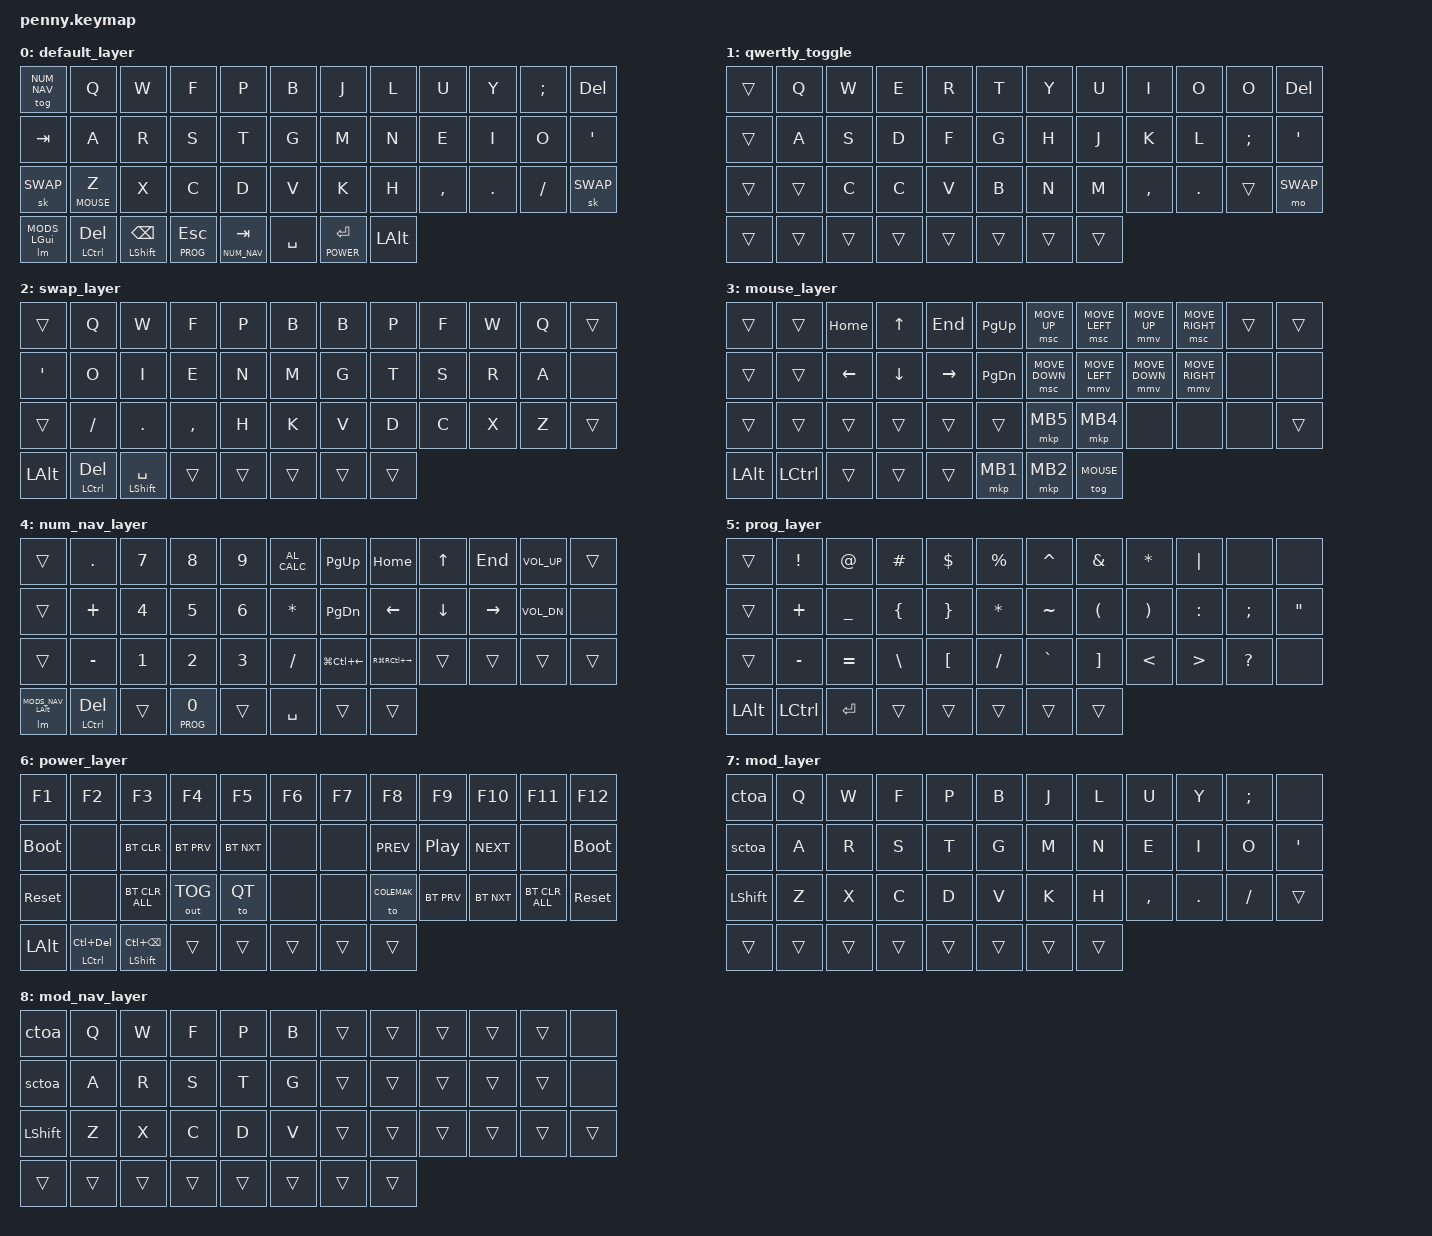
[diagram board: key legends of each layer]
#include <behaviors.dtsi>
#include <behaviors/mouse_keys.dtsi>
#include <dt-bindings/zmk/keys.h>
#include <dt-bindings/zmk/bt.h>
#include <dt-bindings/zmk/ext_power.h>
#include <dt-bindings/zmk/mouse.h>
#include <dt-bindings/zmk/outputs.h>
#include <dt-bindings/zmk/pointing.h>

#define COLEMAK  0
#define QT       1
#define SWAP     2
#define MOUSE    3
#define NUM_NAV  4
#define PROG     5
#define POWER    6
#define MODS     7
#define MODS_NAV 8

#define WIN_L LG(LC(LEFT))
#define WIN_R RG(RC(RIGHT))

&mmv {
        acceleration-exponent = <2>;  // 1
        time-to-max-speed-ms = <64>; // 300
        delay-ms = <0>;
        trigger-period-ms = <16>;      // 16
};

&msc {
        acceleration-exponent = <1>;  // 0
        time-to-max-speed-ms = <300>;  // 300
        delay-ms = <0>;
        trigger-period-ms = <16>;      // 16
};

/ {
        macros {
                ctoa: ctrl_to_alt {
                        compatible = "zmk,behavior-macro";
                        wait-ms = <0>;
                        tap-ms = <0>;
                        #binding-cells = <0>;
                        bindings
                                = <&macro_release &kp LCTRL>
                                , <&macro_press &atab>     
                                , <&macro_release &atab>
                                ;
                };

                sctoa: shift_ctrl_to_alt {      
                        compatible = "zmk,behavior-macro";
                        wait-ms = <0>;
                        tap-ms = <0>;
                        #binding-cells = <0>;
                        bindings
                                = <&macro_release &kp LCTRL>
                                , <&macro_press &astab>     
                                , <&macro_release &astab>
                                ;
                };

                // atoc: alt_to_ctrl {
                //         compatible = "zmk,behavior-macro";
                //         wait-ms = <0>;
                //         tap-ms = <0>;
                //         #binding-cells = <0>;
                //         bindings
                //                 = <&macro_release &kp LALT>
                //                 , <&macro_press &ctab>     
                //                 , <&macro_release &ctab>
                //                 ;       
                // };
                
                // satoc: shift_alt_to_ctrl {
                //         compatible = "zmk,behavior-macro";
                //         wait-ms = <0>;
                //         tap-ms = <0>;
                //         #binding-cells = <0>;
                //         bindings
                //                 = <&macro_release &kp LALT>
                //                 , <&macro_press &cstab>     
                //                 , <&macro_release &cstab>
                //                 ;
                // };
                lm: lm {
                        compatible = "zmk,behavior-macro-two-param";
                        wait-ms = <0>;
                        tap-ms = <0>;
                        #binding-cells = <2>;
                        bindings
                                = <&macro_param_1to1>
                                , <&macro_press &mo MACRO_PLACEHOLDER>
                                , <&macro_param_2to1>
                                , <&macro_press &kp MACRO_PLACEHOLDER>
                                , <&macro_pause_for_release>
                                , <&macro_param_2to1>
                                , <&macro_release &kp MACRO_PLACEHOLDER>
                                , <&macro_param_1to1>
                                , <&macro_release &mo MACRO_PLACEHOLDER>
                                ;
                };

                lmm: lmm {
                        compatible = "zmk,behavior-macro-one-param";
                        wait-ms = <0>;
                        tap-ms = <0>;
                        #binding-cells = <1>;
                        bindings
                                = <&macro_press &mo MODS>
                                , <&macro_param_1to1>
                                , <&macro_press &kp MACRO_PLACEHOLDER>
                                , <&macro_pause_for_release>
                                , <&macro_param_1to1>
                                , <&macro_release &kp MACRO_PLACEHOLDER>
                                , <&macro_release &mo MODS>
                                ;
                };

                lmmn: lmmn {
                        compatible = "zmk,behavior-macro-one-param";
                        wait-ms = <0>;
                        tap-ms = <0>;
                        #binding-cells = <1>;
                        bindings
                                = <&macro_press &mo MODS_NAV>
                                , <&macro_param_1to1>
                                , <&macro_press &kp MACRO_PLACEHOLDER>
                                , <&macro_pause_for_release>
                                , <&macro_param_1to1>
                                , <&macro_release &kp MACRO_PLACEHOLDER>
                                , <&macro_release &mo MODS_NAV>
                                ;
                };

                // shift_tab: shift_tab {
                //         compatible = "zmk,behavior-macro";
                //         wait-ms = <0>;
                //         tap-ms = <0>;
                //         #binding-cells = <0>;
                //         bindings
                //                 = <&macro_press &kp LSHIFT>
                //                 , <&macro_press &kp TAB>
                //                 , <&macro_pause_for_release>
                //                 , <&macro_release &kp TAB>
                //                 , <&macro_release &kp LSHIFT>
                //                 ;
                // };

        };
        
        behaviors {
                kt_on: key_toggle_on_only {
                        compatible = "zmk,behavior-key-toggle";
                        #binding-cells = <1>;
                        display-name = "Key Toggle On";
                        toggle-mode = "on";
                }; 
                kt_off: key_toggle_off_only {
                        compatible = "zmk,behavior-key-toggle";
                        #binding-cells = <1>;
                        display-name = "Key Toggle Off";
                        toggle-mode = "off";
                };
                // td_mt: tap_dance_mod_tap {
                //         compatible = "zmk,behavior-tap-dance";
                //         #binding-cells = <0>;
                //         tapping-term-ms = <200>;
                //         bindings = <&mmv MOVE_LEFT>, <&mmvf MOVE_LEFT>;
                // };
                // mmvf: mouse_movement_fast {
                //         compatible = "zmk,behavior-input-two-axis";
                //         acceleration-exponent = <1>;  // 1
                //         time-to-max-speed-ms = <64>; // 300
                //         delay-ms = <0>;
                //         trigger-period-ms = <8>;      // 16
                // };
                // stab: super_tab {
                //         compatible = "zmk,behavior-mod-morph";
                //         #binding-cells = <0>;
                //         bindings = <&ctoa>, <&atab>;
                //         mods = <(MOD_LCTRL)>;
                // };

                // shft_stab: shift_super_tab {
                //         compatible = "zmk,behavior-mod-morph";
                //         #binding-cells = <0>;
                //         bindings = <&sctoa>, <&astab>;
                //         mods = <(MOD_LCTRL)>;
                // };

                atab: alt_tab {
                        compatible = "zmk,behavior-tri-state";
                        #binding-cells = <0>;
                        bindings = <&kt_on LALT>, <&kp TAB>, <&kt_off LALT>;
                        ignored-key-positions = <12>;
                };
                
                // ctab: ctrl_tab {
                //         compatible = "zmk,behavior-tri-state";
                //         #binding-cells = <0>;
                //         bindings = <&kt LCTRL>, <&kp TAB>, <&kt LCTRL>;
                // };

                astab: alt_shift_tab {
                        compatible = "zmk,behavior-tri-state";
                        #binding-cells = <0>;
                        bindings = <&kt_on LALT>, <&kp LS(TAB)>, <&kt_off LALT>;
                        ignored-key-positions = <0>;

                };
                
                // cstab: ctrl_shift_tab {
                //         compatible = "zmk,behavior-tri-state";
                //         #binding-cells = <0>;
                //         bindings = <&kt LCTRL>, <&kp LS(TAB)>, <&kt LCTRL>;
                // };

                ltt: layer_tap_tap_custom {
                        compatible = "zmk,behavior-hold-tap";
                        #binding-cells = <2>;
                        tapping-term-ms = <200>;    // <---[[moderate duration]]
                        quick-tap-ms = <175>;
                        require-prior-idle-ms = <150>;
                        flavor = "tap-preferred";
                        bindings = <&mo>, <&kp>;
                };
        
                ltc: layer_tap_custom {
                        compatible = "zmk,behavior-hold-tap";
                        #binding-cells = <2>;
                        tapping-term-ms = <200>;    // <---[[moderate duration]]
                        quick-tap-ms = <200>;
                        flavor = "hold-preferred";
                        bindings = <&mo>, <&kp>;
                };

                lmt: layer_mod_tap {
                        compatible = "zmk,behavior-hold-tap";
                        #binding-cells = <2>;
                        tapping-term-ms = <200>;    // <---[[moderate duration]]
                        quick-tap-ms = <200>;
                        flavor = "hold-preferred";
                        bindings = <&lmm>, <&kp>;
                };

                lmnt: layer_mod_nav_tap {
                        compatible = "zmk,behavior-hold-tap";
                        #binding-cells = <2>;
                        tapping-term-ms = <200>;    // <---[[moderate duration]]
                        quick-tap-ms = <200>;
                        flavor = "hold-preferred";
                        bindings = <&lmmn>, <&kp>;
                };

                mtc: mod_tap_custom {
                        compatible = "zmk,behavior-hold-tap";
                        #binding-cells = <2>;
                        tapping-term-ms = <200>;    // <---[[moderate duration]]
                        quick-tap-ms = <200>;
                        flavor = "hold-preferred";
                        bindings = <&kp>, <&kp>;
                };
        };

        keymap {
                compatible = "zmk,keymap";

//                 default_old_layer {
// // -----------------------------------------------------------------------------------------
// // |  TAB |  Q  |  W  |  E  |  R  |  T  |   |  Y  |  U   |  I  |  O  |  P  | BSPC |
// // | CTRL |  A  |  S  |  D  |  F  |  G  |   |  H  |  J   |  K  |  L  |  ;  |  '   |
// // | SHFT |  Z  |  X  |  C  |  V  |  B  |   |  N  |  M   |  ,  |  .  |  /  | ESC  |
// //                    | GUI | LWR | SPC |   | ENT | RSE  | ALT |
//                         bindings = <
//    &tog NUM_NAV &kp Q        &kp W &kp F    &kp P               &kp B                                            &kp J     &kp L          &kp U     &kp Y   &kp SEMI &kp DEL
//    &kp TAB      &kp A        &kp R &kp S    &kp T               &kp G                                            &kp M     &kp N          &kp E     &kp I   &kp O    &kp SQT
//    &sk SWAP     &ltt MOUSE Z &kp X &kp C    &kp D               &kp V                                            &kp K     &kp H          &kp COMMA &kp DOT &kp FSLH &sk SWAP
//                                    &lm MODS LALT &lmt LCTRL ESC &mtc LSHFT BSPC &ltc PROG DEL   &ltc NUM_NAV TAB &kp SPACE &ltc POWER RET &kp LGUI 
//                         >;
//                 };

                default_layer {
// -----------------------------------------------------------------------------------------
// |NUMNAV|  Q  |  W  |  E  |  R  |  T  |   |  Y  |  U   |  I  |  O  |  P  | BSPC |
// | TAB  |  A  |  S  |  D  |  F  |  G  |   |  H  |  J   |  K  |  L  |  ;  |  '   |
// | SWAP |  Zm |  X  |  C  |  V  |  B  |   |  N  |  M   |  ,  |  .  |  /  | ESC  |
// | LGUI | DEL/LCTRL | BSPC/LSHFT | ESC/MOD1 | | TAB/MOD2 | SPACE  | RET/POWER | LALT |
                        bindings = <
   &tog NUM_NAV &kp Q        &kp W &kp F    &kp P               &kp B                                            &kp J     &kp L          &kp U     &kp Y   &kp SEMI &kp DEL
   &kp TAB      &kp A        &kp R &kp S    &kp T               &kp G                                            &kp M     &kp N          &kp E     &kp I   &kp O    &kp SQT
   &sk SWAP     &ltt MOUSE Z &kp X &kp C    &kp D               &kp V                                            &kp K     &kp H          &kp COMMA &kp DOT &kp FSLH &sk SWAP
                                   &lm MODS LGUI &lmt LCTRL DEL &mtc LSHFT BSPC &ltc PROG ESC   &ltc NUM_NAV TAB &kp SPACE &ltc POWER RET &kp LALT 
                        >;
                };
        
                qwertly_toggle {
// -----------------------------------------------------------------------------------------
// |  TAB |  Q  |  W  |  E  |  R  |  T  |   |  Y  |  U   |  I  |  O  |  P  | BSPC |
// | CTRL |  A  |  S  |  D  |  F  |  G  |   |  H  |  J   |  K  |  L  |  ;  |  '   |
// | SHFT |  Z  |  X  |  C  |  V  |  B  |   |  N  |  M   |  ,  |  .  |  /  | ESC  |
//                    | GUI | LWR | SPC |   | ENT | RSE  | ALT |
                        bindings = <
   &trans &kp Q  &kp W &kp E  &kp R  &kp T           &kp Y  &kp U  &kp I     &kp O   &kp O    &kp DEL
   &trans &kp A  &kp S &kp D  &kp F  &kp G           &kp H  &kp J  &kp K     &kp L   &kp SEMI &kp SQT
   &trans &trans &kp C &kp C  &kp V  &kp B           &kp N  &kp M  &kp COMMA &kp DOT &trans   &mo SWAP
                       &trans &trans &trans &trans   &trans &trans &trans    &trans
                        >;
                };

                swap_layer {
// -----------------------------------------------------------------------------------------
// |  TAB |  Q  |  W  |  E  |  R  |  T  |   |  Y  |  U   |  I  |  O  |  P  | BSPC |
// | CTRL |  A  |  S  |  D  |  F  |  G  |   |  H  |  J   |  K  |  L  |  ;  |  '   |
// | SHFT |  Z  |  X  |  C  |  V  |  B  |   |  N  |  M   |  ,  |  .  |  /  | ESC  |
//                    | GUI | LWR | SPC |   | ENT | RSE  | ALT |
                        bindings = <
   &trans  &kp Q    &kp W   &kp F     &kp P           &kp B                            &kp B  &kp P  &kp F &kp W &kp Q &trans
   &kp SQT &kp O    &kp I   &kp E     &kp N           &kp M                            &kp G  &kp T  &kp S &kp R &kp A &none
   &trans  &kp FSLH &kp DOT &kp COMMA &kp H           &kp K                            &kp V  &kp D  &kp C &kp X &kp Z &trans
                            &kp LALT  &mtc LCTRL DEL  &mtc LSHFT SPACE &trans   &trans &trans &trans &trans 
                        >;
                };

                mouse_layer {
                        bindings = <
   &trans &trans &kp HOME &kp UP   &kp END   &kp PG_UP                 &msc MOVE_UP   &msc MOVE_LEFT &mmv MOVE_UP   &msc MOVE_RIGHT &trans &trans
   &trans &trans &kp LEFT &kp DOWN &kp RIGHT &kp PG_DN                 &msc MOVE_DOWN &mmv MOVE_LEFT &mmv MOVE_DOWN &mmv MOVE_RIGHT &none  &none
   &trans &trans &trans   &trans   &trans    &trans                    &mkp MB5 &mkp MB4       &none          &none           &none  &trans
                          &kp LALT &kp LCTRL &trans    &trans   &trans &mkp MB1 &mkp MB2 &tog MOUSE    
                        >;
                };

                num_nav_layer {
                        bindings = <
   &trans &kp DOT   &kp N7 &kp N8            &kp N9          &kp C_AL_CALC                       &kp PG_UP &kp HOME  &kp UP   &kp END   &kp C_VOL_UP &trans
   &trans &kp PLUS  &kp N4 &kp N5            &kp N6          &kp STAR                            &kp PG_DN &kp LEFT  &kp DOWN &kp RIGHT &kp C_VOL_DN &none
   &trans &kp MINUS &kp N1 &kp N2            &kp N3          &kp SLASH                           &kp WIN_L &kp WIN_R &trans   &trans    &trans       &trans
                           &lm MODS_NAV LALT &lmnt LCTRL DEL &trans        &ltc PROG N0   &trans &kp SPACE &trans    &trans
                        >;
                };

                prog_layer {
                        bindings = <
   &trans &kp EXCL  &kp AT    &kp HASH &kp DLLR  &kp PRCNT          &kp CARET &kp AMPS &kp STAR &kp PIPE  &none     &none
   &trans &kp PLUS  &kp UNDER &kp LBRC &kp RBRC  &kp STAR           &kp TILDE &kp LPAR &kp RPAR &kp COLON &kp SEMI  &kp DQT
   &trans &kp MINUS &kp EQUAL &kp BSLH &kp LBKT  &kp SLASH          &kp GRAVE &kp RBKT &kp LT   &kp GT    &kp QMARK &none
                              &kp LALT &kp LCTRL &kp ENTER &trans   &trans    &trans   &trans   &trans
                        >;
                };

                power_layer {
                        bindings = <
   &kp F1      &kp F2 &kp F3         &kp F4        &kp F5             &kp F6                       &kp F7 &kp F8      &kp F9     &kp F10    &kp F11        &kp F12             
   &bootloader &none  &bt BT_CLR     &bt BT_PRV    &bt BT_NXT         &none                        &none  &kp C_PREV  &kp C_PP   &kp C_NEXT &none          &bootloader
   &sys_reset  &none  &bt BT_CLR_ALL &out OUT_TOG  &to QT             &none                        &none  &to COLEMAK &bt BT_PRV &bt BT_NXT &bt BT_CLR_ALL &sys_reset
                                     &kp LALT      &lmt LCTRL LC(DEL) &mtc LSHFT LC(BSPC) &trans   &trans &trans &trans      &trans             
                        >;
                };

                mod_layer {
                        bindings = <
   &ctoa      &kp Q &kp W &kp F  &kp P  &kp B                  &kp J  &kp L  &kp U     &kp Y   &kp SEMI &none
   &sctoa     &kp A &kp R &kp S  &kp T  &kp G                  &kp M  &kp N  &kp E     &kp I   &kp O    &kp SQT
   &kp LSHFT  &kp Z &kp X &kp C  &kp D  &kp V                  &kp K  &kp H  &kp COMMA &kp DOT &kp FSLH &trans
                         &trans &trans &trans &trans   &trans &trans &trans &trans
                        >;
                };

                mod_nav_layer {
                        bindings = <
   &ctoa      &kp Q &kp W &kp F  &kp P  &kp B                  &trans &trans &trans &trans &trans &none
   &sctoa     &kp A &kp R &kp S  &kp T  &kp G                  &trans &trans &trans &trans &trans &none
   &kp LSHFT  &kp Z &kp X &kp C  &kp D  &kp V                  &trans &trans &trans &trans &trans &trans
                         &trans &trans &trans &trans   &trans &trans &trans &trans
                        >;
                };
        };
};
